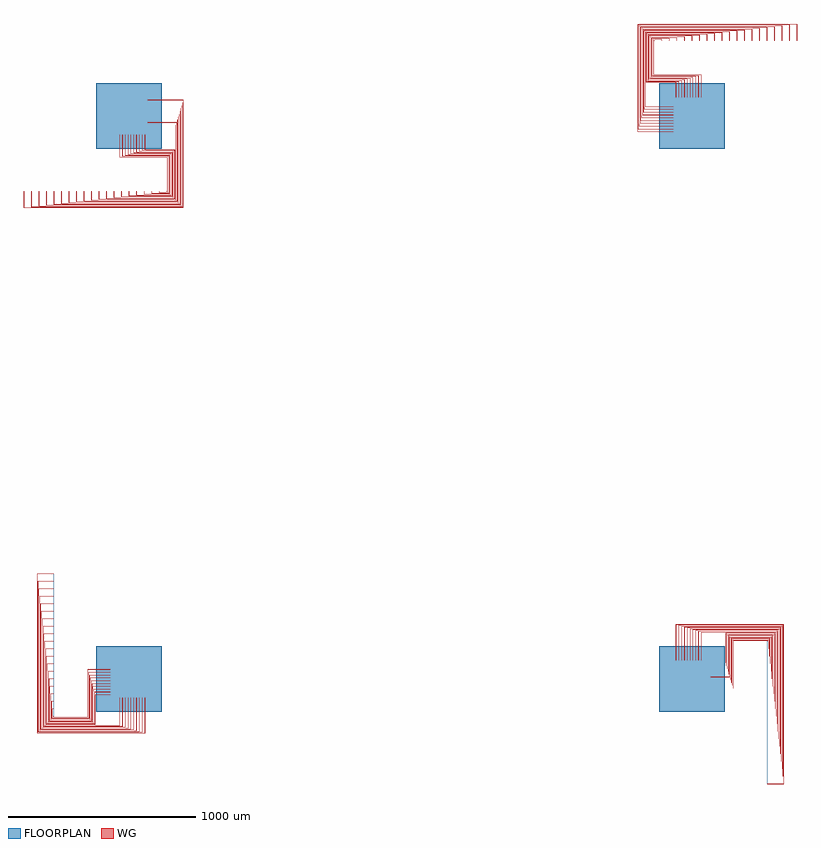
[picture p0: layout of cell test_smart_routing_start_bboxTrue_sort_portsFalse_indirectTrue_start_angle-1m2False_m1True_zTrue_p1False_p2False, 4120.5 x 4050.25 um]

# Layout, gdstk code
import gdstk
lib = gdstk.Library(unit=1e-6, precision=1e-09)
def R(c, l, rs):  # rectangles x0, y0, x1, y1
    for r in rs: c.add(gdstk.rectangle(r[:2], r[2:], *l))
def P(c, l, *ps):  # polygons
    for p in ps: c.add(gdstk.Polygon(p, *l))
WG = (1, 0)
FLOORPLAN = (10, 0)

test_smart_routing_start = lib.new_cell('test_smart_routing_start_bboxTrue_sort_portsFalse_indirectTrue_start_angle-1m2False_m1True_zTrue_p1False_p2False')
P(test_smart_routing_start, WG, [(-404.5,-204.75),(-404.5,-199.75),(-400,-199.75),(-400,-200.25),(-404,-200.25),(-404,-204.25),(-220,-204.25),(-220,50.25),(-100,50.25),(-100,49.75),(-219.5,49.75),(-219.5,-204.75)],
  [(-409,-209.25),(-409,-159.75),(-400,-159.75),(-400,-160.25),(-408.5,-160.25),(-408.5,-208.75),(-215.5,-208.75),(-215.5,35.25),(-100,35.25),(-100,34.75),(-215,34.75),(-215,-209.25)],
  [(-413.5,-213.75),(-413.5,-119.75),(-400,-119.75),(-400,-120.25),(-413,-120.25),(-413,-213.25),(-211,-213.25),(-211,20.25),(-100,20.25),(-100,19.75),(-210.5,19.75),(-210.5,-213.75)],
  [(-418,-218.25),(-418,-79.75),(-400,-79.75),(-400,-80.25),(-417.5,-80.25),(-417.5,-217.75),(-206.5,-217.75),(-206.5,5.25),(-100,5.25),(-100,4.75),(-206,4.75),(-206,-218.25)],
  [(-422.5,-222.75),(-422.5,-39.75),(-400,-39.75),(-400,-40.25),(-422,-40.25),(-422,-222.25),(-202,-222.25),(-202,-9.75),(-100,-9.75),(-100,-10.25),(-201.5,-10.25),(-201.5,-222.75)],
  [(-427,-227.25),(-427,0.25),(-400,0.25),(-400,-0.25),(-426.5,-0.25),(-426.5,-226.75),(-197.5,-226.75),(-197.5,-24.75),(-100,-24.75),(-100,-25.25),(-197,-25.25),(-197,-227.25)],
  [(-431.5,-231.75),(-431.5,40.25),(-400,40.25),(-400,39.75),(-431,39.75),(-431,-231.25),(-193,-231.25),(-193,-39.75),(-100,-39.75),(-100,-40.25),(-192.5,-40.25),(-192.5,-231.75)],
  [(-436,-236.25),(-436,80.25),(-400,80.25),(-400,79.75),(-435.5,79.75),(-435.5,-235.75),(-188.5,-235.75),(-188.5,-54.75),(-100,-54.75),(-100,-55.25),(-188,-55.25),(-188,-236.25)],
  [(-440.5,-240.75),(-440.5,120.25),(-400,120.25),(-400,119.75),(-440,119.75),(-440,-240.25),(-184,-240.25),(-184,-69.75),(-100,-69.75),(-100,-70.25),(-183.5,-70.25),(-183.5,-240.75)],
  [(-445,-245.25),(-445,160.25),(-400,160.25),(-400,159.75),(-444.5,159.75),(-444.5,-244.75),(-179.5,-244.75),(-179.5,-84.75),(-100,-84.75),(-100,-85.25),(-179,-85.25),(-179,-245.25)],
  [(-449.5,-249.75),(-449.5,200.25),(-400,200.25),(-400,199.75),(-449,199.75),(-449,-249.25),(-50.25,-249.25),(-50.25,-100),(-49.75,-100),(-49.75,-249.75)],
  [(-454,-254.25),(-454,240.25),(-400,240.25),(-400,239.75),(-453.5,239.75),(-453.5,-253.75),(-35.25,-253.75),(-35.25,-100),(-34.75,-100),(-34.75,-254.25)],
  [(-458.5,-258.75),(-458.5,280.25),(-400,280.25),(-400,279.75),(-458,279.75),(-458,-258.25),(-20.25,-258.25),(-20.25,-100),(-19.75,-100),(-19.75,-258.75)],
  [(-463,-263.25),(-463,320.25),(-400,320.25),(-400,319.75),(-462.5,319.75),(-462.5,-262.75),(-5.25,-262.75),(-5.25,-100),(-4.75,-100),(-4.75,-263.25)],
  [(-467.5,-267.75),(-467.5,360.25),(-400,360.25),(-400,359.75),(-467,359.75),(-467,-267.25),(9.75,-267.25),(9.75,-100),(10.25,-100),(10.25,-267.75)],
  [(-472,-272.25),(-472,400.25),(-400,400.25),(-400,399.75),(-471.5,399.75),(-471.5,-271.75),(24.75,-271.75),(24.75,-100),(25.25,-100),(25.25,-272.25)],
  [(-476.5,-276.75),(-476.5,440.25),(-400,440.25),(-400,439.75),(-476,439.75),(-476,-276.25),(39.75,-276.25),(39.75,-100),(40.25,-100),(40.25,-276.75)],
  [(-481,-281.25),(-481,480.25),(-400,480.25),(-400,479.75),(-480.5,479.75),(-480.5,-280.75),(54.75,-280.75),(54.75,-100),(55.25,-100),(55.25,-281.25)],
  [(-485.5,-285.75),(-485.5,520.25),(-400,520.25),(-400,519.75),(-485,519.75),(-485,-285.25),(69.75,-285.25),(69.75,-100),(70.25,-100),(70.25,-285.75)],
  [(-490,-290.25),(-490,560.25),(-400,560.25),(-400,559.75),(-489.5,559.75),(-489.5,-289.75),(84.75,-289.75),(84.75,-100),(85.25,-100),(85.25,-290.25)],
  [(199.75,2595.5),(199.75,2600),(200.25,2600),(200.25,2596),(204.25,2596),(204.25,2780),(-50.25,2780),(-50.25,2900),(-49.75,2900),(-49.75,2780.5),(204.75,2780.5),(204.75,2595.5)],
  [(159.75,2591),(159.75,2600),(160.25,2600),(160.25,2591.5),(208.75,2591.5),(208.75,2784.5),(-35.25,2784.5),(-35.25,2900),(-34.75,2900),(-34.75,2785),(209.25,2785),(209.25,2591)],
  [(119.75,2586.5),(119.75,2600),(120.25,2600),(120.25,2587),(213.25,2587),(213.25,2789),(-20.25,2789),(-20.25,2900),(-19.75,2900),(-19.75,2789.5),(213.75,2789.5),(213.75,2586.5)],
  [(79.75,2582),(79.75,2600),(80.25,2600),(80.25,2582.5),(217.75,2582.5),(217.75,2793.5),(-5.25,2793.5),(-5.25,2900),(-4.75,2900),(-4.75,2794),(218.25,2794),(218.25,2582)],
  [(39.75,2577.5),(39.75,2600),(40.25,2600),(40.25,2578),(222.25,2578),(222.25,2798),(9.75,2798),(9.75,2900),(10.25,2900),(10.25,2798.5),(222.75,2798.5),(222.75,2577.5)],
  [(-0.25,2573),(-0.25,2600),(0.25,2600),(0.25,2573.5),(226.75,2573.5),(226.75,2802.5),(24.75,2802.5),(24.75,2900),(25.25,2900),(25.25,2803),(227.25,2803),(227.25,2573)],
  [(-40.25,2568.5),(-40.25,2600),(-39.75,2600),(-39.75,2569),(231.25,2569),(231.25,2807),(39.75,2807),(39.75,2900),(40.25,2900),(40.25,2807.5),(231.75,2807.5),(231.75,2568.5)],
  [(-80.25,2564),(-80.25,2600),(-79.75,2600),(-79.75,2564.5),(235.75,2564.5),(235.75,2811.5),(54.75,2811.5),(54.75,2900),(55.25,2900),(55.25,2812),(236.25,2812),(236.25,2564)],
  [(-120.25,2559.5),(-120.25,2600),(-119.75,2600),(-119.75,2560),(240.25,2560),(240.25,2816),(69.75,2816),(69.75,2900),(70.25,2900),(70.25,2816.5),(240.75,2816.5),(240.75,2559.5)],
  [(-160.25,2555),(-160.25,2600),(-159.75,2600),(-159.75,2555.5),(244.75,2555.5),(244.75,2820.5),(84.75,2820.5),(84.75,2900),(85.25,2900),(85.25,2821),(245.25,2821),(245.25,2555)],
  [(-200.25,2550.5),(-200.25,2600),(-199.75,2600),(-199.75,2551),(249.25,2551),(249.25,2949.75),(100,2949.75),(100,2950.25),(249.75,2950.25),(249.75,2550.5)],
  [(-240.25,2546),(-240.25,2600),(-239.75,2600),(-239.75,2546.5),(253.75,2546.5),(253.75,2964.75),(100,2964.75),(100,2965.25),(254.25,2965.25),(254.25,2546)],
  [(-280.25,2541.5),(-280.25,2600),(-279.75,2600),(-279.75,2542),(258.25,2542),(258.25,2979.75),(100,2979.75),(100,2980.25),(258.75,2980.25),(258.75,2541.5)],
  [(-320.25,2537),(-320.25,2600),(-319.75,2600),(-319.75,2537.5),(262.75,2537.5),(262.75,2994.75),(100,2994.75),(100,2995.25),(263.25,2995.25),(263.25,2537)],
  [(-360.25,2532.5),(-360.25,2600),(-359.75,2600),(-359.75,2533),(267.25,2533),(267.25,3009.75),(100,3009.75),(100,3010.25),(267.75,3010.25),(267.75,2532.5)],
  [(-400.25,2528),(-400.25,2600),(-399.75,2600),(-399.75,2528.5),(271.75,2528.5),(271.75,3024.75),(100,3024.75),(100,3025.25),(272.25,3025.25),(272.25,2528)],
  [(-440.25,2523.5),(-440.25,2600),(-439.75,2600),(-439.75,2524),(276.25,2524),(276.25,3039.75),(100,3039.75),(100,3040.25),(276.75,3040.25),(276.75,2523.5)],
  [(-480.25,2519),(-480.25,2600),(-479.75,2600),(-479.75,2519.5),(280.75,2519.5),(280.75,3054.75),(100,3054.75),(100,3055.25),(281.25,3055.25),(281.25,2519)],
  [(-520.25,2514.5),(-520.25,2600),(-519.75,2600),(-519.75,2515),(285.25,2515),(285.25,3069.75),(100,3069.75),(100,3070.25),(285.75,3070.25),(285.75,2514.5)],
  [(-560.25,2510),(-560.25,2600),(-559.75,2600),(-559.75,2510.5),(289.75,2510.5),(289.75,3084.75),(100,3084.75),(100,3085.25),(290.25,3085.25),(290.25,2510)],
  [(3100,-50.25),(3100,-49.75),(3219.5,-49.75),(3219.5,204.75),(3404.5,204.75),(3404.5,199.75),(3400,199.75),(3400,200.25),(3404,200.25),(3404,204.25),(3220,204.25),(3220,-50.25)],
  [(3100,-35.25),(3100,-34.75),(3215,-34.75),(3215,209.25),(3409,209.25),(3409,159.75),(3400,159.75),(3400,160.25),(3408.5,160.25),(3408.5,208.75),(3215.5,208.75),(3215.5,-35.25)],
  [(3100,-20.25),(3100,-19.75),(3210.5,-19.75),(3210.5,213.75),(3413.5,213.75),(3413.5,119.75),(3400,119.75),(3400,120.25),(3413,120.25),(3413,213.25),(3211,213.25),(3211,-20.25)],
  [(3100,-5.25),(3100,-4.75),(3206,-4.75),(3206,218.25),(3418,218.25),(3418,79.75),(3400,79.75),(3400,80.25),(3417.5,80.25),(3417.5,217.75),(3206.5,217.75),(3206.5,-5.25)],
  [(3100,9.75),(3100,10.25),(3201.5,10.25),(3201.5,222.75),(3422.5,222.75),(3422.5,39.75),(3400,39.75),(3400,40.25),(3422,40.25),(3422,222.25),(3202,222.25),(3202,9.75)],
  [(3400,-0.25),(3400,0.25),(3426.5,0.25),(3426.5,226.75),(3197.5,226.75),(3197.5,24.75),(3100,24.75),(3100,25.25),(3197,25.25),(3197,227.25),(3427,227.25),(3427,-0.25)],
  [(3400,-40.25),(3400,-39.75),(3431,-39.75),(3431,231.25),(3193,231.25),(3193,39.75),(3100,39.75),(3100,40.25),(3192.5,40.25),(3192.5,231.75),(3431.5,231.75),(3431.5,-40.25)],
  [(3400,-80.25),(3400,-79.75),(3435.5,-79.75),(3435.5,235.75),(3188.5,235.75),(3188.5,54.75),(3100,54.75),(3100,55.25),(3188,55.25),(3188,236.25),(3436,236.25),(3436,-80.25)],
  [(3400,-120.25),(3400,-119.75),(3440,-119.75),(3440,240.25),(3184,240.25),(3184,69.75),(3100,69.75),(3100,70.25),(3183.5,70.25),(3183.5,240.75),(3440.5,240.75),(3440.5,-120.25)],
  [(3400,-160.25),(3400,-159.75),(3444.5,-159.75),(3444.5,244.75),(3179.5,244.75),(3179.5,84.75),(3100,84.75),(3100,85.25),(3179,85.25),(3179,245.25),(3445,245.25),(3445,-160.25)],
  [(3400,-200.25),(3400,-199.75),(3449,-199.75),(3449,249.25),(3050.25,249.25),(3050.25,100),(3049.75,100),(3049.75,249.75),(3449.5,249.75),(3449.5,-200.25)],
  [(3400,-240.25),(3400,-239.75),(3453.5,-239.75),(3453.5,253.75),(3035.25,253.75),(3035.25,100),(3034.75,100),(3034.75,254.25),(3454,254.25),(3454,-240.25)],
  [(3400,-280.25),(3400,-279.75),(3458,-279.75),(3458,258.25),(3020.25,258.25),(3020.25,100),(3019.75,100),(3019.75,258.75),(3458.5,258.75),(3458.5,-280.25)],
  [(3400,-320.25),(3400,-319.75),(3462.5,-319.75),(3462.5,262.75),(3005.25,262.75),(3005.25,100),(3004.75,100),(3004.75,263.25),(3463,263.25),(3463,-320.25)],
  [(3400,-360.25),(3400,-359.75),(3467,-359.75),(3467,267.25),(2990.25,267.25),(2990.25,100),(2989.75,100),(2989.75,267.75),(3467.5,267.75),(3467.5,-360.25)],
  [(3400,-400.25),(3400,-399.75),(3471.5,-399.75),(3471.5,271.75),(2975.25,271.75),(2975.25,100),(2974.75,100),(2974.75,272.25),(3472,272.25),(3472,-400.25)],
  [(3400,-440.25),(3400,-439.75),(3476,-439.75),(3476,276.25),(2960.25,276.25),(2960.25,100),(2959.75,100),(2959.75,276.75),(3476.5,276.75),(3476.5,-440.25)],
  [(3400,-480.25),(3400,-479.75),(3480.5,-479.75),(3480.5,280.75),(2945.25,280.75),(2945.25,100),(2944.75,100),(2944.75,281.25),(3481,281.25),(3481,-480.25)],
  [(3400,-520.25),(3400,-519.75),(3485,-519.75),(3485,285.25),(2930.25,285.25),(2930.25,100),(2929.75,100),(2929.75,285.75),(3485.5,285.75),(3485.5,-520.25)],
  [(3400,-560.25),(3400,-559.75),(3489.5,-559.75),(3489.5,289.75),(2915.25,289.75),(2915.25,100),(2914.75,100),(2914.75,290.25),(3490,290.25),(3490,-560.25)],
  [(3049.75,3100),(3049.75,3219.5),(2795.25,3219.5),(2795.25,3404.5),(2800.25,3404.5),(2800.25,3400),(2799.75,3400),(2799.75,3404),(2795.75,3404),(2795.75,3220),(3050.25,3220),(3050.25,3100)],
  [(3034.75,3100),(3034.75,3215),(2790.75,3215),(2790.75,3409),(2840.25,3409),(2840.25,3400),(2839.75,3400),(2839.75,3408.5),(2791.25,3408.5),(2791.25,3215.5),(3035.25,3215.5),(3035.25,3100)],
  [(3019.75,3100),(3019.75,3210.5),(2786.25,3210.5),(2786.25,3413.5),(2880.25,3413.5),(2880.25,3400),(2879.75,3400),(2879.75,3413),(2786.75,3413),(2786.75,3211),(3020.25,3211),(3020.25,3100)],
  [(3004.75,3100),(3004.75,3206),(2781.75,3206),(2781.75,3418),(2920.25,3418),(2920.25,3400),(2919.75,3400),(2919.75,3417.5),(2782.25,3417.5),(2782.25,3206.5),(3005.25,3206.5),(3005.25,3100)],
  [(2989.75,3100),(2989.75,3201.5),(2777.25,3201.5),(2777.25,3422.5),(2960.25,3422.5),(2960.25,3400),(2959.75,3400),(2959.75,3422),(2777.75,3422),(2777.75,3202),(2990.25,3202),(2990.25,3100)],
  [(2974.75,3100),(2974.75,3197),(2772.75,3197),(2772.75,3427),(3000.25,3427),(3000.25,3400),(2999.75,3400),(2999.75,3426.5),(2773.25,3426.5),(2773.25,3197.5),(2975.25,3197.5),(2975.25,3100)],
  [(2959.75,3100),(2959.75,3192.5),(2768.25,3192.5),(2768.25,3431.5),(3040.25,3431.5),(3040.25,3400),(3039.75,3400),(3039.75,3431),(2768.75,3431),(2768.75,3193),(2960.25,3193),(2960.25,3100)],
  [(2944.75,3100),(2944.75,3188),(2763.75,3188),(2763.75,3436),(3080.25,3436),(3080.25,3400),(3079.75,3400),(3079.75,3435.5),(2764.25,3435.5),(2764.25,3188.5),(2945.25,3188.5),(2945.25,3100)],
  [(2929.75,3100),(2929.75,3183.5),(2759.25,3183.5),(2759.25,3440.5),(3120.25,3440.5),(3120.25,3400),(3119.75,3400),(3119.75,3440),(2759.75,3440),(2759.75,3184),(2930.25,3184),(2930.25,3100)],
  [(2914.75,3100),(2914.75,3179),(2754.75,3179),(2754.75,3445),(3160.25,3445),(3160.25,3400),(3159.75,3400),(3159.75,3444.5),(2755.25,3444.5),(2755.25,3179.5),(2915.25,3179.5),(2915.25,3100)],
  [(2750.25,3049.75),(2750.25,3449.5),(3200.25,3449.5),(3200.25,3400),(3199.75,3400),(3199.75,3449),(2750.75,3449),(2750.75,3050.25),(2900,3050.25),(2900,3049.75)],
  [(2745.75,3034.75),(2745.75,3454),(3240.25,3454),(3240.25,3400),(3239.75,3400),(3239.75,3453.5),(2746.25,3453.5),(2746.25,3035.25),(2900,3035.25),(2900,3034.75)],
  [(2741.25,3019.75),(2741.25,3458.5),(3280.25,3458.5),(3280.25,3400),(3279.75,3400),(3279.75,3458),(2741.75,3458),(2741.75,3020.25),(2900,3020.25),(2900,3019.75)],
  [(2736.75,3004.75),(2736.75,3463),(3320.25,3463),(3320.25,3400),(3319.75,3400),(3319.75,3462.5),(2737.25,3462.5),(2737.25,3005.25),(2900,3005.25),(2900,3004.75)],
  [(2732.25,2989.75),(2732.25,3467.5),(3360.25,3467.5),(3360.25,3400),(3359.75,3400),(3359.75,3467),(2732.75,3467),(2732.75,2990.25),(2900,2990.25),(2900,2989.75)],
  [(2727.75,2974.75),(2727.75,3472),(3400.25,3472),(3400.25,3400),(3399.75,3400),(3399.75,3471.5),(2728.25,3471.5),(2728.25,2975.25),(2900,2975.25),(2900,2974.75)],
  [(2723.25,2959.75),(2723.25,3476.5),(3440.25,3476.5),(3440.25,3400),(3439.75,3400),(3439.75,3476),(2723.75,3476),(2723.75,2960.25),(2900,2960.25),(2900,2959.75)],
  [(2718.75,2944.75),(2718.75,3481),(3480.25,3481),(3480.25,3400),(3479.75,3400),(3479.75,3480.5),(2719.25,3480.5),(2719.25,2945.25),(2900,2945.25),(2900,2944.75)],
  [(2714.25,2929.75),(2714.25,3485.5),(3520.25,3485.5),(3520.25,3400),(3519.75,3400),(3519.75,3485),(2714.75,3485),(2714.75,2930.25),(2900,2930.25),(2900,2929.75)],
  [(2709.75,2914.75),(2709.75,3490),(3560.25,3490),(3560.25,3400),(3559.75,3400),(3559.75,3489.5),(2710.25,3489.5),(2710.25,2915.25),(2900,2915.25),(2900,2914.75)])
R(test_smart_routing_start, FLOORPLAN, [(-175,-175,175,175), (2825,-175,3175,175), (-175,2825,175,3175), (2825,2825,3175,3175)])
P(test_smart_routing_start, FLOORPLAN, [(-400,-200),(-400,560),(-400,560),(-400,-200)],
  [(-560,2600),(-560,2600),(200,2600),(200,2600)],
  [(3400,-560),(3400,200),(3400,200),(3400,-560)],
  [(2800,3400),(2800,3400),(3560,3400),(3560,3400)])

lib.write_gds('test_smart_routing_start_bboxTrue_sort_portsFalse_indirectTrue_start_angle-1m2False_m1True_zTrue_p1False_p2False.gds')
